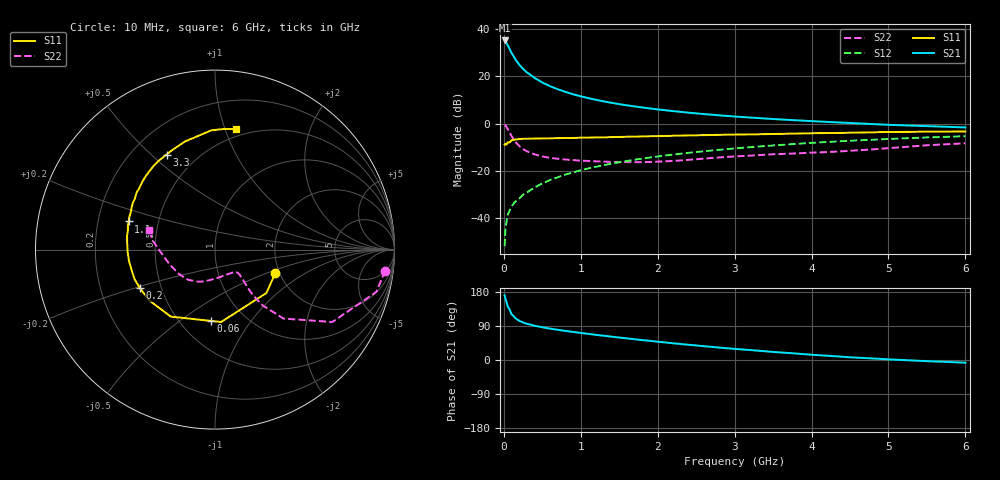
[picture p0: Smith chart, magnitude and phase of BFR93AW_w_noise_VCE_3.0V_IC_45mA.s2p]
! Infineon Technologies  Discrete & RF Semiconductors
! BFR93AW
! VCE =  3.0 V,  IC =  45 mA
! Common Emitter S-Parameters:  Jan 2017
# GHz  S  MA  R  50
!  f  S11  S21  S12  S22
! GHz  MAG  ANG  MAG  ANG  MAG  ANG  MAG  ANG
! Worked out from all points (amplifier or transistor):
!   77 points, 10 MHz to 6 GHz, reference 50 ohm
!   highest |S21| = 35.0 dB at 10 MHz (marker M1)
!   |S21| within 3 dB of that: start of sweep to 66.16 MHz
!   unconditionally stable (mu >= 1): 441.5 MHz to 2.085 GHz
!   at 130 MHz: K = 0.65, MSG = 30.9 dB, |S12| = -33.6 dB
!   at 2.2 GHz: K = 0.99, MSG = 9.2 dB, |S12| = -13.1 dB
!   at 6 GHz: K = 0.90, MSG = 1.8 dB, |S12| = -5.3 dB
!   lowest NFmin = 2.16 dB at 450 MHz
!   S11 on the Smith chart (normalised r, x): 10 MHz: 1.91, -0.57; 60 MHz: 0.70, -0.66; 200 MHz: 0.38, -0.21; 1.1 GHz: 0.34, +0.14; 3.3 GHz: 0.34, +0.56; 6 GHz: 0.44, +1.09
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0.01  0.3608 -21.0  56.51 170.8  0.0026 75.5  0.9551 -7.1
0.02  0.3749 -40.2  55.11 162.4  0.0055 71.9  0.9291 -14.7
0.05  0.4048 -85.2  45.1 141.1  0.0117 65.2  0.7681 -31.7
0.06  0.398 -93.2  41.92 138.2  0.0129 64.2  0.7202 -33.7
0.1  0.4472 -123.4  30.81 120.8  0.0178 61.6  0.5411 -45.2
0.15  0.4626 -142.1  22.45 110.2  0.0228 60.4  0.4098 -49.5
0.2  0.4703 -152.8  17.43 103.6  0.0262 62.8  0.3363 -50.2
0.25  0.4777 -159.9  14.22 98.9  0.0316 65.4  0.2903 -49.6
0.3  0.4778 -165.1  11.96 95.6  0.0351 66.8  0.2595 -48.6
0.4  0.4833 -172.4  9.119 90.3  0.0448 69.2  0.2236 -46.7
0.5  0.4864 -177.9  7.335 86.3  0.0546 70.7  0.2027 -45.8
0.6  0.489 177.8  6.158 82.8  0.0646 71.5  0.1895 -45.4
0.7  0.4922 174.0  5.3 79.8  0.0737 72.0  0.1811 -45.6
0.9  0.4969 167.7  4.145 74.0  0.0935 71.9  0.17 -48.1
1.1  0.5056 161.9  3.432 68.9  0.1137 71.3  0.1627 -51.8
1.5  0.5221 152.4  2.567 59.3  0.1527 68.8  0.1538 -63.7
2.1  0.5475 139.3  1.908 46.3  0.2122 63.5  0.1599 -87.5
3.1  0.5881 120.6  1.373 27.8  0.3083 53.7  0.2066 -121.3
3.3  0.5945 117.0  1.308 24.7  0.3267 51.6  0.2152 -126.8
4.1  0.6276 104.0  1.105 12.6  0.3999 42.8  0.2468 -149.9
5.1  0.666 90.5  0.929 0.8  0.4804 31.6  0.3112 -179.7
6  0.6815 80.1  0.829 -7.1  0.5415 21.5  0.3841 163.8
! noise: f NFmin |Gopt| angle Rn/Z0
0.45  2.16  0.24  -179  0.17
0.9  2.46  0.3  -169  0.17
1.9  3.55  0.53  -132  0.39
2.4  4.27  0.57  -122  0.72
